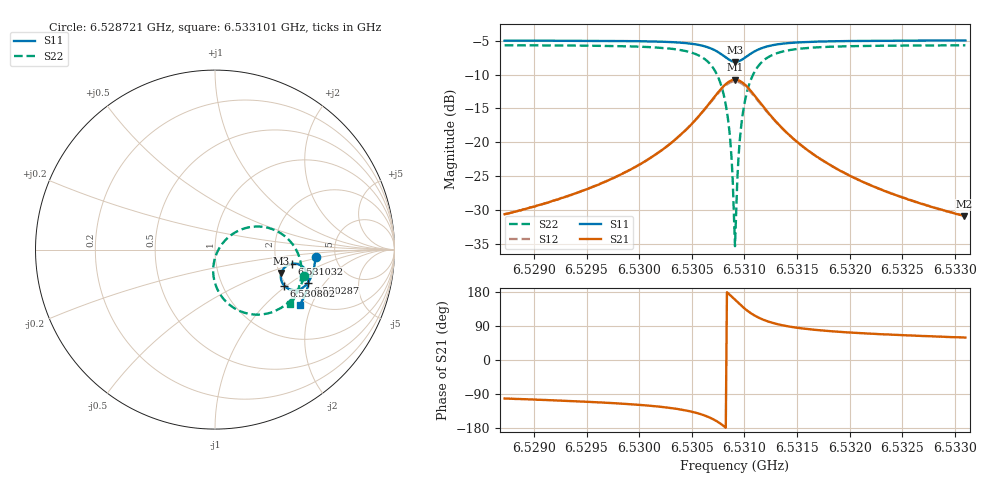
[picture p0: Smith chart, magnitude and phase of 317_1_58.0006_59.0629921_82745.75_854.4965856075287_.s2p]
#  HZ  S  RI  R  50.00
! Rohde & Schwarz Vector Network Analyzer
! Rohde-Schwarz,ZNB20-2Port,1311601062101988,3.16
! Created: UTC 3/21/2024, 1:04:26 AM
! freq[Hz]  re:S11  im:S11  re:S21  im:S21  re:S12  im:S12  re:S22  im:S22
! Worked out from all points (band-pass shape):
!   401 points, 6.528721 GHz to 6.533101 GHz, reference 50 ohm
!   highest |S21| = -10.77 dB at 6.530911 GHz (marker M1); lowest = -30.9 dB at 6.53309 GHz (marker M2)
!   |S21| within 3 dB of the highest: 6.530692 GHz to 6.531131 GHz (439.2 kHz wide, 0.00672 % of centre)
!   lowest |S11| = -8.1 dB at 6.530911 GHz (marker M3), VSWR 2.29, Z = 102 - j31.6 ohm
!   |S11| at or under -10 dB: nowhere
!   |S22| runs from -35.3 to -5.7 dB; largest |S21 - S12| = 0.011
!   S11 on the Smith chart (normalised r, x): 6.528721 GHz: 3.50, -0.44; 6.530287 GHz: 2.60, -1.39; 6.530802 GHz: 1.94, -0.96; 6.531032 GHz: 2.43, -0.47; 6.533101 GHz: 1.84, -1.65
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6.5287214e9  0.5601 -0.043  -0.00594 -0.0289  -0.0064 -0.0288  0.4983 -0.1479
6.5294549e9  0.5511 -0.1034  -0.0148 -0.0413  -0.0155 -0.041  0.4699 -0.2148
6.5301885e9  0.5246 -0.1745  -0.0462 -0.0709  -0.0481 -0.0697  0.3931 -0.3072
6.530287e9  0.5168 -0.186  -0.0572 -0.0778  -0.0594 -0.0764  0.37 -0.3237
6.5306374e9  0.4538 -0.2255  -0.1536 -0.0959  -0.156 -0.0901  0.1864 -0.3574
6.5307359e9  0.4147 -0.221  -0.2141 -0.0726  -0.2139 -0.0638  0.0831 -0.3093
6.5308016e9  0.3857 -0.2011  -0.2574 -0.0281  -0.2532 -0.0188  0.0163 -0.2275
6.5308563e9  0.369 -0.1699  -0.2789 0.0323  -0.2711 0.04  -0.0101 -0.1237
6.5308782e9  0.3668 -0.1546  -0.2798 0.0606  -0.2708 0.0669  -0.00696 -0.0767
6.5308892e9  0.3668 -0.1467  -0.2781 0.075  -0.2688 0.0805  -0.0017 -0.0531
6.5309001e9  0.3679 -0.1387  -0.2749 0.0894  -0.2652 0.094  0.00565 -0.0301
6.5309111e9  0.3696 -0.1308  -0.2703 0.1034  -0.2606 0.1071  0.0153 -0.00779
6.530933e9  0.3758 -0.1161  -0.2573 0.1299  -0.2474 0.1318  0.041 0.0335
6.5309549e9  0.3848 -0.1033  -0.2396 0.1528  -0.2303 0.153  0.0737 0.0681
6.5309768e9  0.3959 -0.0928  -0.2187 0.1711  -0.2103 0.17  0.1112 0.0952
6.5310315e9  0.4274 -0.079  -0.1616 0.1964  -0.1558 0.1936  0.21 0.1274
6.5311081e9  0.4662 -0.0823  -0.0937 0.1945  -0.0905 0.192  0.3242 0.1122
6.5312176e9  0.4988 -0.1047  -0.0361 0.1649  -0.0346 0.1634  0.4174 0.0479
6.5316446e9  0.5209 -0.1805  0.0138 0.0817  0.0148 0.0814  0.4824 -0.1287
6.5323782e9  0.5011 -0.2531  0.0164 0.0391  0.0173 0.039  0.455 -0.2438
6.5330898e9  0.4738 -0.3055  0.0146 0.0246  0.0151 0.0245  0.4205 -0.3049
6.5331008e9  0.4734 -0.3062  0.0147 0.0246  0.0151 0.0243  0.42 -0.3057
